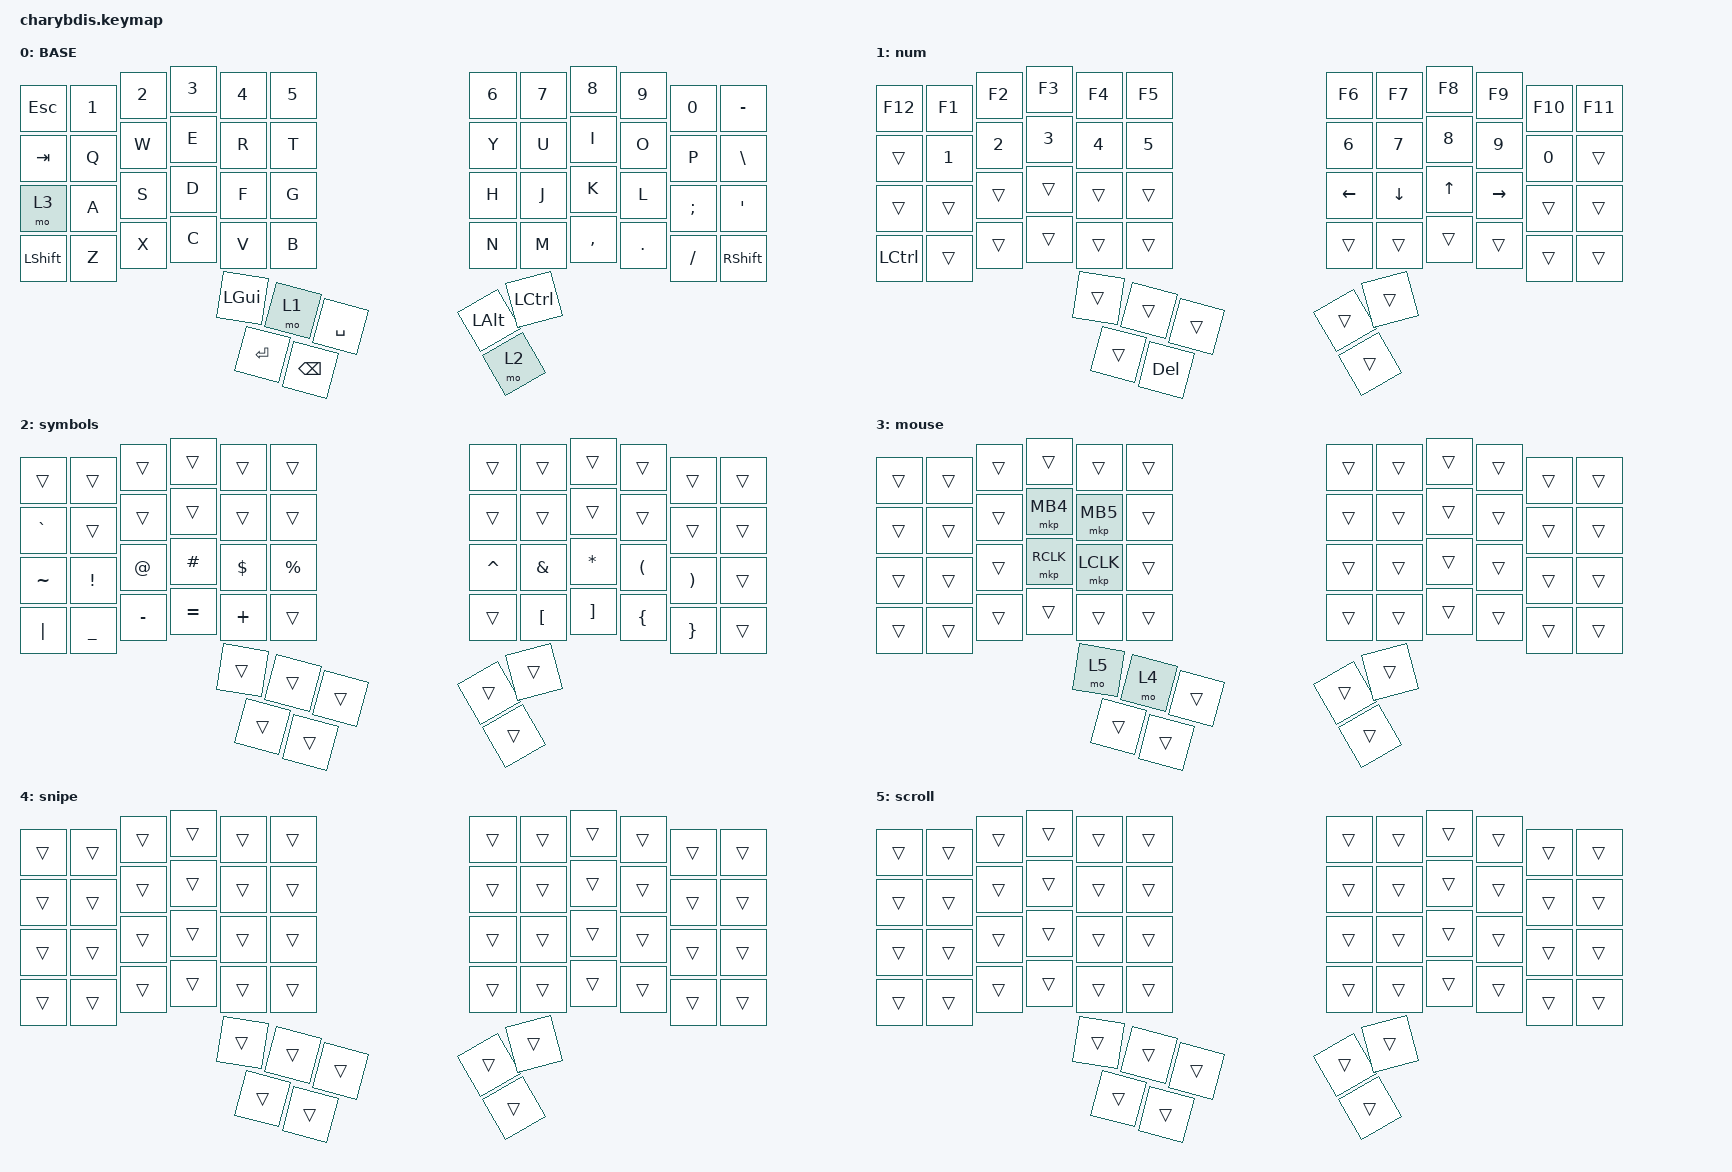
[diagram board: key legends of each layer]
#include <dt-bindings/zmk/mouse.h>
#include <behaviors/mouse_keys.dtsi>
#include "macros.dtsi"
#include "behaviors.dtsi"
#include "combos.dtsi"
#include <behaviors.dtsi>
#include <dt-bindings/zmk/keys.h>
#include <dt-bindings/zmk/pointing.h>

/ {
    /* input config for mouse move mode */

    trackball_listener {
        compatible = "zmk,input-behavior-listener";
        device = <&vtrackball>;
        layers = <0 1 2 3>;
        evt-type = <INPUT_EV_REL>;
        x-input-code = <INPUT_REL_X>;
        y-input-code = <INPUT_REL_Y>;
        scale-multiplier = <5>;
        scale-divisor = <12>;

        // bindings = <&ib_toggle_layer 7>;
    };

    /* input config for snipe mode */

    trackball_snipe_listener {
        compatible = "zmk,input-behavior-listener";
        device = <&vtrackball>;
        layers = <4>;
        evt-type = <INPUT_EV_REL>;
        x-input-code = <INPUT_REL_X>;
        y-input-code = <INPUT_REL_Y>;
        scale-multiplier = <2>;
        scale-divisor = <12>;
    };

    /* input config for mouse scroll mode */

    trackball_scroll_listener {
        compatible = "zmk,input-behavior-listener";
        device = <&vtrackball>;
        layers = <5>;
        evt-type = <INPUT_EV_REL>;
        x-input-code = <INPUT_REL_MISC>;
        y-input-code = <INPUT_REL_WHEEL>;
        y-invert;
        scale-multiplier = <2>;
        scale-divisor = <12>;
        bindings = <&ib_wheel_scaler 1 14>;
    };

    /* define a resolution down scaler only for INPUT_REL_WHEEL */

    ib_wheel_scaler: ib_wheel_scaler {
        compatible = "zmk,input-behavior-scaler";
        #binding-cells = <2>;
        evt-type = <INPUT_EV_REL>;
        input-code = <INPUT_REL_WHEEL>;
    };

    /* adjust cooldown waiting period for mouse key layer after activated */

    ib_toggle_layer: ib_toggle_layer {
        compatible = "zmk,input-behavior-tog-layer";
        #binding-cells = <1>;
        time-to-live-ms = <750>;
    };

    // ╭──────┬──────┬──────┬──────┬──────┬──────╮  ╭──────┬──────┬──────┬──────┬──────┬──────╮
    //    00     01     02     03    04      05        06     07     08     09     10     11
    // ├──────┼──────┼──────┼──────┼──────┼──────┤  ├──────┼──────┼──────┼──────┼──────┼──────┤
    //    12     13     14     15    16      17        18     19     20     21     22     23
    // ├──────┼──────┼──────┼──────┼──────┼──────┤  ├──────┼──────┼──────┼──────┼──────┼──────┤
    //    24     25     26     27    28      29        30     31     32     33     34     35
    // ╰──────┴──────┴──────┼──────┼──────┼──────┤  ├──────┼──────┼──────┴──────┴──────┴──────╯
    //                         36     37     38        39     40
    //                      ╰──────┴──────┴──────╯  ╰──────┴──────╯
    // #define BASE    0

    macros {
        test_macro: test_macro {
            compatible = "zmk,behavior-macro";
            #binding-cells = <0>;
            bindings = <&none>;
            label = "TEST_MACRO";
        };
    };

    keymap {
        compatible = "zmk,keymap";

        BASE {
            bindings = <
&kp ESCAPE      &kp NUMBER_1  &kp NUMBER_2  &kp NUMBER_3  &kp NUMBER_4  &kp N5              &kp NUMBER_6  &kp N7         &kp N8     &kp N9      &kp N0         &kp MINUS
&kp TAB         &kp Q         &kp W         &kp E         &kp R         &kp T               &kp Y         &kp U          &kp I      &kp O       &kp P          &kp BACKSLASH
&mo 3           &kp A         &kp S         &kp D         &kp F         &kp G               &kp H         &kp J          &kp K      &kp L       &kp SEMICOLON  &kp APOSTROPHE
&kp LEFT_SHIFT  &kp Z         &kp X         &kp C         &kp V         &kp B               &kp N         &kp M          &kp COMMA  &kp PERIOD  &kp SLASH      &kp RIGHT_SHIFT
                                            &kp LEFT_GUI  &mo 1         &kp SPACE           &kp ENTER     &kp BACKSPACE
                                                          &kp LEFT_ALT  &kp LEFT_CONTROL    &mo 2
            >;
        };

        num {
            bindings = <
&kp F12    &kp F1        &kp F2  &kp F3  &kp F4  &kp F5    &kp F6          &kp F7      &kp F8        &kp F9     &kp F10  &kp F11
&trans     &kp NUMBER_1  &kp N2  &kp N3  &kp N4  &kp N5    &kp N6          &kp N7      &kp N8        &kp N9     &kp N0   &trans
&trans     &trans        &trans  &trans  &trans  &trans    &kp LEFT_ARROW  &kp DOWN    &kp UP_ARROW  &kp RIGHT  &trans   &trans
&kp LCTRL  &trans        &trans  &trans  &trans  &trans    &trans          &trans      &trans        &trans     &trans   &trans
                                 &trans  &trans  &trans    &trans          &kp DELETE
                                         &trans  &trans    &trans
            >;
        };

        symbols {
            bindings = <
&trans     &trans           &trans       &trans     &trans      &trans         &trans     &trans            &trans             &trans                &trans                 &trans
&kp GRAVE  &trans           &trans       &trans     &trans      &trans         &trans     &trans            &trans             &trans                &trans                 &trans
&kp TILDE  &kp EXCLAMATION  &kp AT_SIGN  &kp HASH   &kp DOLLAR  &kp PERCENT    &kp CARET  &kp AMPERSAND     &kp ASTERISK       &kp LEFT_PARENTHESIS  &kp RIGHT_PARENTHESIS  &trans
&kp PIPE   &kp UNDERSCORE   &kp MINUS    &kp EQUAL  &kp PLUS    &trans         &trans     &kp LEFT_BRACKET  &kp RIGHT_BRACKET  &kp LEFT_BRACE        &kp RIGHT_BRACE        &trans
                                         &trans     &trans      &trans         &trans     &trans
                                                    &trans      &trans         &trans
            >;
        };

        mouse {
            bindings = <
&trans  &trans  &trans  &trans     &trans     &trans    &trans  &trans  &trans  &trans  &trans  &trans
&trans  &trans  &trans  &mkp MB4   &mkp MB5   &trans    &trans  &trans  &trans  &trans  &trans  &trans
&trans  &trans  &trans  &mkp RCLK  &mkp LCLK  &trans    &trans  &trans  &trans  &trans  &trans  &trans
&trans  &trans  &trans  &trans     &trans     &trans    &trans  &trans  &trans  &trans  &trans  &trans
                        &mo 5      &mo 4      &trans    &trans  &trans
                                   &trans     &trans    &trans
            >;
        };

        snipe {
            bindings = <
&trans  &trans  &trans  &trans  &trans  &trans    &trans  &trans  &trans  &trans  &trans  &trans
&trans  &trans  &trans  &trans  &trans  &trans    &trans  &trans  &trans  &trans  &trans  &trans
&trans  &trans  &trans  &trans  &trans  &trans    &trans  &trans  &trans  &trans  &trans  &trans
&trans  &trans  &trans  &trans  &trans  &trans    &trans  &trans  &trans  &trans  &trans  &trans
                        &trans  &trans  &trans    &trans  &trans
                                &trans  &trans    &trans
            >;
        };

        scroll {
            bindings = <
&trans  &trans  &trans  &trans  &trans  &trans    &trans  &trans  &trans  &trans  &trans  &trans
&trans  &trans  &trans  &trans  &trans  &trans    &trans  &trans  &trans  &trans  &trans  &trans
&trans  &trans  &trans  &trans  &trans  &trans    &trans  &trans  &trans  &trans  &trans  &trans
&trans  &trans  &trans  &trans  &trans  &trans    &trans  &trans  &trans  &trans  &trans  &trans
                        &trans  &trans  &trans    &trans  &trans
                                &trans  &trans    &trans
            >;
        };
    };
};
